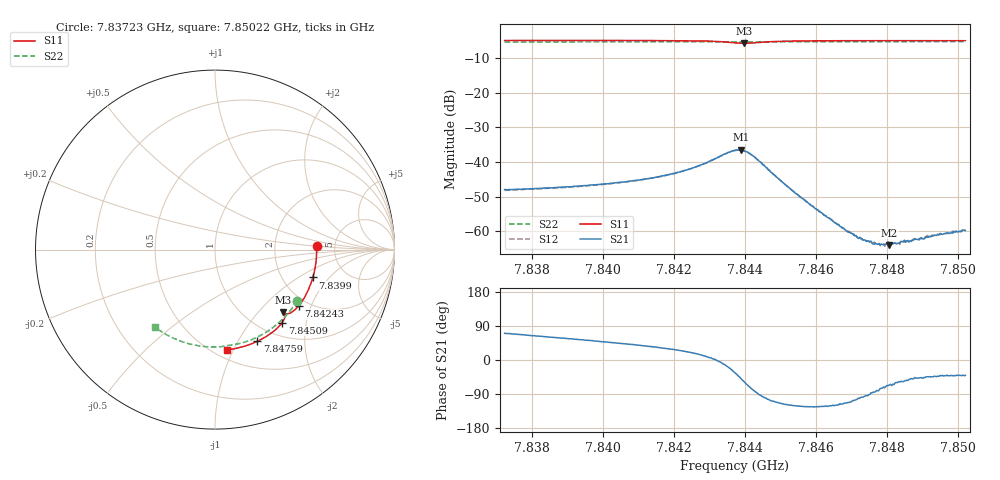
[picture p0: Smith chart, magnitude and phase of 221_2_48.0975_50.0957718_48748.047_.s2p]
#  HZ  S  RI  R  50.00
! Rohde & Schwarz Vector Network Analyzer
! Rohde-Schwarz,ZNB20-2Port,1311601062101988,3.16
! Created: UTC 12/23/2023, 3:56:45 AM
! freq[Hz]  re:S11  im:S11  re:S21  im:S21  re:S12  im:S12  re:S22  im:S22
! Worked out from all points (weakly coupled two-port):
!   401 points, 7.83723 GHz to 7.85022 GHz, reference 50 ohm
!   highest |S21| = -36.47 dB at 7.84389 GHz (marker M1); lowest = -63.9 dB at 7.84808 GHz (marker M2)
!   lowest |S11| = -5.8 dB at 7.84399 GHz (marker M3), VSWR 3.13, Z = 72.7 - j68.9 ohm
!   |S11| at or under -10 dB: nowhere
!   |S22| runs from -5.4 to -5.3 dB; largest |S21 - S12| = 0.0003
!   S11 on the Smith chart (normalised r, x): 7.83723 GHz: 3.60, +0.22; 7.8399 GHz: 2.94, -1.35; 7.84243 GHz: 1.79, -1.64; 7.84509 GHz: 1.25, -1.46; 7.84759 GHz: 0.81, -1.21; 7.85022 GHz: 0.58, -0.95
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7.837235e9  0.5659 0.0204  0.00135 0.00377  0.00133 0.00364  0.4587 -0.284
7.839409e9  0.5534 -0.1237  0.00271 0.00362  0.00266 0.00362  0.362 -0.4013
7.839896e9  0.5452 -0.1554  0.0031 0.0036  0.00304 0.00354  0.3361 -0.4234
7.84061e9  0.5297 -0.2013  0.0038 0.00351  0.00375 0.00348  0.2957 -0.453
7.841584e9  0.501 -0.2621  0.00517 0.00333  0.00513 0.00334  0.2364 -0.4869
7.842428e9  0.467 -0.3127  0.00735 0.0028  0.00734 0.0028  0.1816 -0.51
7.843239e9  0.4188 -0.3537  0.0117 -0.000518  0.0115 -0.000406  0.1267 -0.5256
7.843726e9  0.384 -0.3551  0.0122 -0.0082  0.0123 -0.00803  0.0941 -0.5309
7.843888e9  0.3799 -0.35  0.00995 -0.0112  0.00981 -0.011  0.0837 -0.5323
7.843986e9  0.3806 -0.3478  0.00777 -0.0121  0.00781 -0.0123  0.0775 -0.5333
7.844148e9  0.3847 -0.3486  0.00408 -0.0125  0.00411 -0.0125  0.0673 -0.5354
7.844343e9  0.3895 -0.3567  0.000716 -0.011  0.000614 -0.011  0.0546 -0.5377
7.845089e9  0.374 -0.4068  -0.00218 -0.00447  -0.00218 -0.00449  0.00228 -0.5428
7.845901e9  0.3337 -0.4494  -0.00129 -0.00195  -0.00126 -0.00195  -0.055 -0.5409
7.846875e9  0.2785 -0.4883  -0.000393 -0.000923  -0.000405 -0.000916  -0.1227 -0.5303
7.847264e9  0.2555 -0.5013  -0.000118 -0.000773  -0.000135 -0.00079  -0.1492 -0.5237
7.847589e9  0.2356 -0.5112  4.13e-05 -0.000681  1.45e-05 -0.000669  -0.1711 -0.5171
7.847881e9  0.2179 -0.5191  0.000175 -0.000621  0.000193 -0.000622  -0.1904 -0.5104
7.848076e9  0.2058 -0.5241  0.000257 -0.000582  0.000255 -0.000607  -0.2032 -0.5057
7.848303e9  0.1915 -0.5295  0.000339 -0.000579  0.00035 -0.000567  -0.218 -0.4998
7.849471e9  0.1163 -0.5505  0.000644 -0.000608  0.000653 -0.000625  -0.2906 -0.4619
7.850218e9  0.0673 -0.5584  0.000781 -0.000665  0.000779 -0.000678  -0.3336 -0.4322
